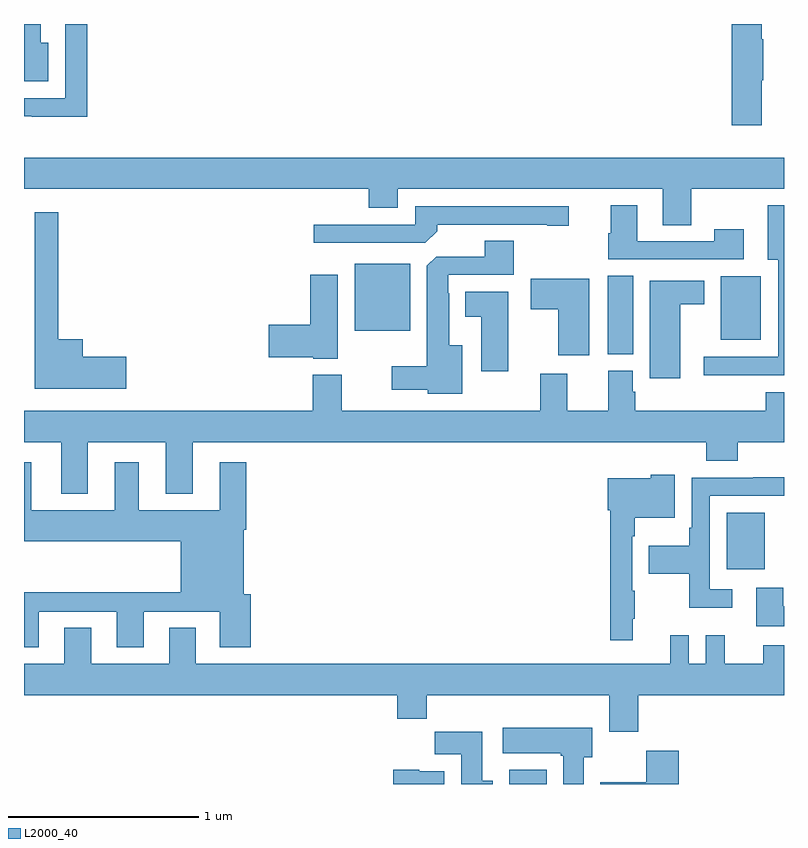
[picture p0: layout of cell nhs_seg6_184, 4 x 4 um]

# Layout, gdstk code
import gdstk
lib = gdstk.Library(unit=1e-6, precision=1e-09)
def R(c, l, rs):  # rectangles x0, y0, x1, y1
    for r in rs: c.add(gdstk.rectangle(r[:2], r[2:], *l))
def P(c, l, *ps):  # polygons
    for p in ps: c.add(gdstk.Polygon(p, *l))
L2000_40 = (2000, 40)

nhs_seg6_184 = lib.new_cell('nhs_seg6_184')
R(nhs_seg6_184, L2000_40, [(121.553,981.5,121.75,981.574), (122.699,982.631,122.899,982.927), (122.072,983.761,122.206,984.176), (122.666,983.837,122.878,984.172), (120.74,983.885,121.033,984.238)])
P(nhs_seg6_184, L2000_40, [(119.128,985.402),(119.089,985.402),(119.089,985.5),(119,985.5),(119,985.199),(119.128,985.199)],
  [(122.884,985.204),(122.892,985.204),(122.892,985.421),(122.884,985.421),(122.884,985.5),(122.726,985.5),(122.726,984.966),(122.884,984.966)],
  [(119.333,985.5),(119.217,985.5),(119.217,985.11),(119,985.11),(119,985.014),(119.041,985.014),(119.041,985.013),(119.333,985.013)],
  [(122.511,984.632),(123,984.632),(123,984.796),(119,984.796),(119,984.632),(120.815,984.632),(120.815,984.533),(120.967,984.533),(120.967,984.632),(122.363,984.632),(122.363,984.442),(122.511,984.442)],
  [(122.788,984.421),(122.632,984.421),(122.632,984.357),(122.227,984.357),(122.227,984.547),(122.087,984.547),(122.087,984.399),(122.075,984.399),(122.075,984.261),(122.788,984.261)],
  [(123,984.547),(122.915,984.547),(122.915,984.26),(122.969,984.26),(122.969,983.748),(122.577,983.748),(122.577,983.651),(123,983.651)],
  [(121.175,984.41),(121.175,984.444),(121.754,984.444),(121.754,984.439),(121.867,984.439),(121.867,984.54),(121.059,984.54),(121.059,984.444),(120.525,984.444),(120.525,984.348),(121.113,984.348)],
  [(119.539,983.75),(119.308,983.75),(119.308,983.842),(119.179,983.842),(119.179,984.508),(119.057,984.508),(119.057,983.579),(119.539,983.579)],
  [(121.306,983.809),(121.237,983.809),(121.237,984.083),(121.233,984.083),(121.233,984.18),(121.577,984.18),(121.577,984.359),(121.424,984.359),(121.424,984.276),(121.17,984.276),(121.121,984.227),(121.121,983.698),(120.936,983.698),(120.936,983.576),(121.125,983.576),(121.125,983.555),(121.306,983.555)],
  [(120.652,984.181),(120.506,984.181),(120.506,983.918),(120.288,983.918),(120.288,983.747),(120.522,983.747),(120.522,983.738),(120.652,983.738)],
  [(121.975,984.16),(121.668,984.16),(121.668,983.998),(121.811,983.998),(121.811,983.757),(121.975,983.757)],
  [(122.455,984.026),(122.581,984.026),(122.581,984.148),(122.294,984.148),(122.294,983.636),(122.455,983.636)],
  [(121.549,984.091),(121.322,984.091),(121.322,983.96),(121.406,983.96),(121.406,983.673),(121.549,983.673)],
  [(119.335,983.3),(119.747,983.3),(119.747,983.027),(119.887,983.027),(119.887,983.3),(122.591,983.3),(122.591,983.201),(122.756,983.201),(122.756,983.3),(123,983.3),(123,983.563),(122.903,983.563),(122.903,983.464),(122.216,983.464),(122.216,983.565),(122.203,983.565),(122.203,983.676),(122.075,983.676),(122.075,983.464),(121.858,983.464),(121.858,983.659),(121.718,983.659),(121.718,983.464),(120.673,983.464),(120.673,983.653),(120.521,983.653),(120.521,983.464),(119,983.464),(119,983.3),(119.195,983.3),(119.195,983.027),(119.335,983.027)],
  [(119.077,982.407),(119.489,982.407),(119.489,982.221),(119.629,982.221),(119.629,982.407),(120.029,982.407),(120.029,982.221),(120.194,982.221),(120.194,982.5),(120.157,982.5),(120.157,982.838),(120.17,982.838),(120.17,983.194),(120.029,983.194),(120.029,982.942),(119.605,982.942),(119.605,983.194),(119.477,983.194),(119.477,982.942),(119.038,982.942),(119.038,983.194),(119,983.194),(119,982.778),(119.825,982.778),(119.825,982.508),(119,982.508),(119,982.221),(119.077,982.221)],
  [(122.204,982.369),(122.215,982.369),(122.215,982.517),(122.202,982.517),(122.202,982.805),(122.215,982.805),(122.215,982.901),(122.425,982.901),(122.425,983.128),(122.298,983.128),(122.298,983.11),(122.072,983.11),(122.072,982.94),(122.086,982.94),(122.086,982.257),(122.204,982.257)],
  [(122.728,982.524),(122.61,982.524),(122.61,983.016),(123,983.016),(123,983.114),(122.839,983.114),(122.839,983.112),(122.514,983.112),(122.514,982.849),(122.502,982.849),(122.502,982.753),(122.287,982.753),(122.287,982.606),(122.502,982.606),(122.502,982.427),(122.728,982.427)],
  [(123,982.435),(122.995,982.435),(122.995,982.534),(122.855,982.534),(122.855,982.331),(123,982.331)],
  [(122.234,981.968),(123,981.968),(123,982.231),(122.891,982.231),(122.891,982.132),(122.687,982.132),(122.687,982.282),(122.589,982.282),(122.589,982.132),(122.499,982.132),(122.499,982.282),(122.402,982.282),(122.402,982.132),(119.905,982.132),(119.905,982.322),(119.765,982.322),(119.765,982.132),(119.353,982.132),(119.353,982.322),(119.213,982.322),(119.213,982.132),(119,982.132),(119,981.968),(120.965,981.968),(120.965,981.844),(121.121,981.844),(121.121,981.968),(122.081,981.968),(122.081,981.774),(122.234,981.774)],
  [(121.945,981.642),(121.99,981.642),(121.99,981.796),(121.521,981.796),(121.521,981.662),(121.825,981.662),(121.825,981.649),(121.838,981.649),(121.838,981.5),(121.945,981.5)],
  [(121.468,981.516),(121.411,981.516),(121.411,981.775),(121.162,981.775),(121.162,981.656),(121.301,981.656),(121.301,981.5),(121.468,981.5)],
  [(122.447,981.676),(122.276,981.676),(122.276,981.508),(122.033,981.508),(122.033,981.5),(122.447,981.5)],
  [(121.213,981.568),(121.08,981.568),(121.08,981.574),(120.944,981.574),(120.944,981.5),(121.213,981.5)])

lib.write_gds('nhs_seg6_184.gds')
